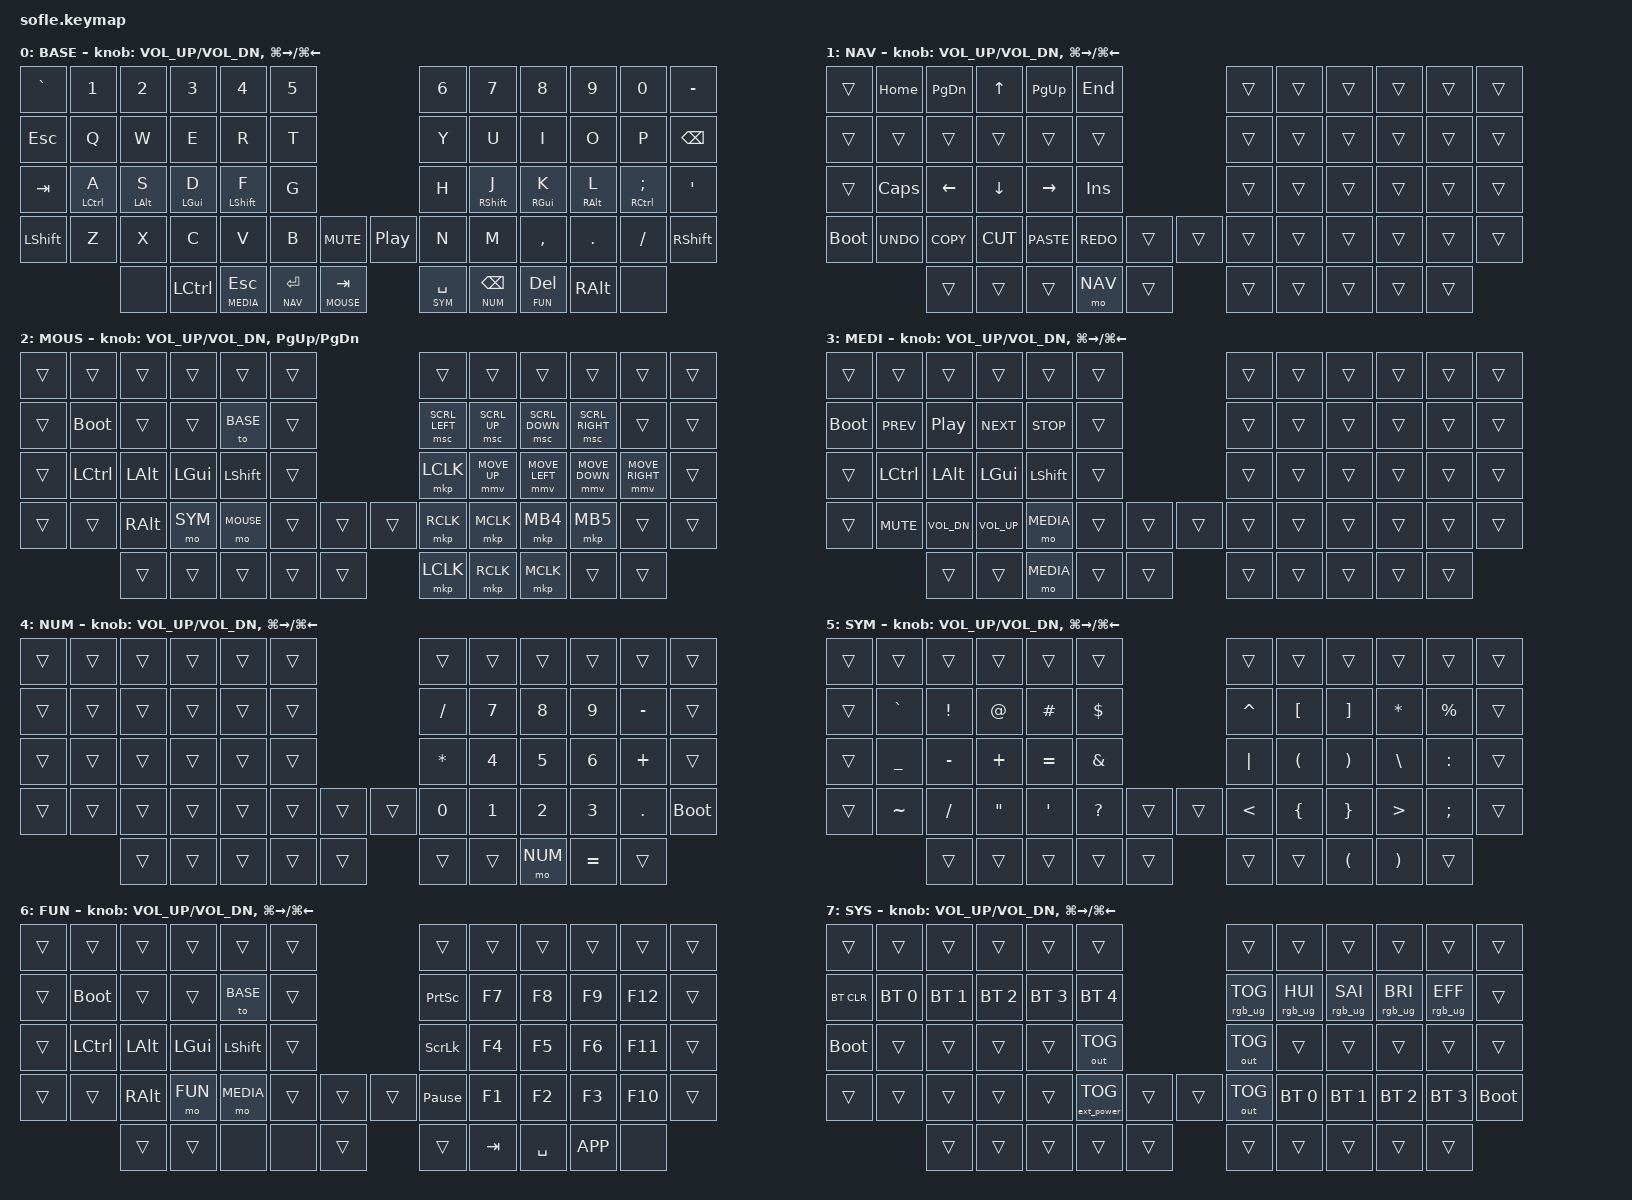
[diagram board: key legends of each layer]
/*
 * Unified Miryoku-inspired keymap for Sofle keyboard
 * Uses Miryoku layer structure with urob's num layer and timing
 * Matches Corne keymap layout
 * Copyright (c) 2020 The ZMK Contributors
 * SPDX-License-Identifier: MIT
 */

#include <zmk-helpers/helper.h>
#include <zmk-helpers/key-labels/sofle.h>
#include <behaviors/num_word.dtsi>
#include <behaviors.dtsi>
#include <dt-bindings/zmk/bt.h>
#include <dt-bindings/zmk/keys.h>
#include <dt-bindings/zmk/outputs.h>
#include <dt-bindings/zmk/ext_power.h>
#include <dt-bindings/zmk/rgb.h>
#include <dt-bindings/zmk/mouse.h>

// Layer definitions
#define BASE 0
#define NAV 1
#define MOUSE 2
#define MEDIA 3
#define NUM 4
#define SYM 5
#define FUN 6
#define SYS 7

// Key position groups for positional hold-tap
#define KEYS_L LN0 LN1 LN2 LN3 LN4 LN5 LT0 LT1 LT2 LT3 LT4 LT5 LM0 LM1 LM2 LM3 LM4 LM5 LB0 LB1 LB2 LB3 LB4 LB5  // Left hand
#define KEYS_R RN0 RN1 RN2 RN3 RN4 RN5 RT0 RT1 RT2 RT3 RT4 RT5 RM0 RM1 RM2 RM3 RM4 RM5 RB0 RB1 RB2 RB3 RB4 RB5  // Right hand
#define THUMBS LH0 LH1 LH2 LH3 LH4 RH0 RH1 RH2 RH3 RH4  // Thumb keys

/ {
    behaviors {
        // Home row mods - left hand (urob's timing)
        hml: homerow_mods_left {
            compatible = "zmk,behavior-hold-tap";
            #binding-cells = <2>;
            flavor = "balanced";
            tapping-term-ms = <280>;
            quick-tap-ms = <175>;
            require-prior-idle-ms = <150>;
            bindings = <&kp>, <&kp>;
            hold-trigger-key-positions = <KEYS_R THUMBS>;
            hold-trigger-on-release;
        };

        // Home row mods - right hand (urob's timing)
        hmr: homerow_mods_right {
            compatible = "zmk,behavior-hold-tap";
            #binding-cells = <2>;
            flavor = "balanced";
            tapping-term-ms = <280>;
            quick-tap-ms = <175>;
            require-prior-idle-ms = <150>;
            bindings = <&kp>, <&kp>;
            hold-trigger-key-positions = <KEYS_L THUMBS>;
            hold-trigger-on-release;
        };

        // Tap-dance for numword: tap=numword, double-tap=sticky layer
        num_dance: num_dance {
            compatible = "zmk,behavior-tap-dance";
            #binding-cells = <0>;
            tapping-term-ms = <200>;
            bindings = <&num_word NUM>, <&sl NUM>;
        };

        // Smart-num: hold=momentary NUM, tap=numword
        smart_num: smart_num {
            compatible = "zmk,behavior-hold-tap";
            #binding-cells = <2>;
            flavor = "balanced";
            tapping-term-ms = <200>;
            quick-tap-ms = <175>;
            bindings = <&mo>, <&num_dance>;
        };
    };

    conditional_layers {
        compatible = "zmk,conditional-layers";

        sys_layer_access {
            if-layers = <NAV MEDIA>;
            then-layer = <SYS>;
        };
    };

    keymap {
        compatible = "zmk,keymap";

        // BASE LAYER - QWERTY with urob's home row mods (CAGS order)
        base_layer {
            display-name = "BASE";
            // ------------------------------------------------------------------------------------------------------------
            // |  `   |  1  |  2  |  3   |  4   |  5   |                   |  6   |  7    |  8    |  9   |   0   |   -   |
            // | ESC  |  Q  |  W  |  E   |  R   |  T   |                   |  Y   |  U    |  I    |  O   |   P   | BKSPC |
            // | TAB  | CTRL| ALT | GUI  | SHFT |  G   |                   |  H   | SHFT  | GUI   | ALT  | CTRL  |   '   |
            // |      |  A  |  S  |  D   |  F   |      |                   |      |  J    |  K    |  L   |   ;   |       |
            // | SHFT |  Z  |  X  |  C   |  V   |  B   |  MUTE  |  |  PP   |  N   |  M    |  ,    |  .   |   /   | SHFT  |
            //                    | CTRL |MEDI  | NAV  | MOUS   |  | SYM   | NUM  |  FUN  | RALT |
            //                    |      | ESC  | RET  |  TAB   |  |  SPC  | BSP  |  DEL  |      |

            bindings = <
&kp GRAVE  &kp N1        &kp N2       &kp N3        &kp N4        &kp N5                                  &kp N6      &kp N7           &kp N8        &kp N9       &kp N0           &kp MINUS
&kp ESC    &kp Q         &kp W        &kp E         &kp R         &kp T                                   &kp Y       &kp U            &kp I         &kp O        &kp P            &kp BSPC
&kp TAB    &hml LCTRL A  &hml LALT S  &hml LGUI D   &hml LSHFT F  &kp G                                   &kp H       &hmr RSHFT J     &hmr RGUI K   &hmr RALT L  &hmr RCTRL SEMI  &kp SQT
&kp LSHFT  &kp Z         &kp X        &kp C         &kp V         &kp B       &kp C_MUTE    &kp C_PP      &kp N       &kp M            &kp COMMA     &kp DOT      &kp FSLH         &kp RSHFT
                         &none        &kp LCTRL    &lt MEDIA ESC &lt NAV RET &lt MOUSE TAB             &lt SYM SPACE   &lt NUM BSPC &lt FUN DEL     &kp RALT      &none
            >;

            sensor-bindings =
                <&inc_dec_kp C_VOL_UP C_VOL_DN>,
                <&inc_dec_kp LG(RIGHT) LG(LEFT)>;
        };

        // NAV LAYER - Navigation (one-handed left side, ESDF arrows)
        nav_layer {
            display-name = "NAV";
            // ------------------------------------------------------------------------------------------------------------
            // |      |     |     |      |      |      |                   |      |      |      |      |       |       |
            // |      |     |     | UP   |      |      |                   |      |      |      |      |       |       |
            // |      |     | LEFT| DOWN |RIGHT |      |                   |      |      |      |      |       |       |
            //       |     | (E) | (S)  | (D)  | (F)  |
            // |BOOT  |UNDO |COPY | CUT  |PASTE |REDO  |       |  |        |      |      |      |      |       |       |
            //                    |      |      | NAV  |PG_UP  |  |        |      |      |      |
            //                                         |PG_DN  |

            bindings = <
&trans       &kp HOME   &kp PG_DN  &kp UP     &kp PG_UP  &kp END                      &trans  &trans  &trans  &trans  &trans  &trans
&trans       &trans     &trans     &trans     &trans     &trans                       &trans  &trans  &trans  &trans  &trans  &trans
&trans       &kp CAPS   &kp LEFT   &kp DOWN   &kp RIGHT  &kp INS                      &trans  &trans  &trans  &trans  &trans  &trans
&bootloader  &kp K_UNDO &kp K_COPY &kp K_CUT  &kp K_PASTE &kp K_REDO  &trans  &trans  &trans  &trans  &trans  &trans  &trans  &trans
                        &trans     &trans     &trans     &mo NAV     &trans  &trans   &trans  &trans  &trans  &trans
            >;

            sensor-bindings =
                <&inc_dec_kp C_VOL_UP C_VOL_DN>,
                <&inc_dec_kp LG(RIGHT) LG(LEFT)>;
        };

        // MOUSE LAYER - Mouse keys (ESDF for movement)
        mouse_layer {
            display-name = "MOUS";
            // ------------------------------------------------------------------------------------------------------------
            // |      |     |     |      |      |      |                   |      |      |      |      |       |       |
            // |      |BOOT |     |      | BASE |      |                   |SCRL_L|SCRL_U|SCRL_D|SCRL_R|       |       |
            // |      | CTRL| ALT | GUI  | SHFT |      |                   | LCLK | M_UP | M_L  | M_D  |  M_R  |       |
            // |      |     |RALT |  SYM | MOUS |      |       |  |        | RCLK | MCLK | MB4  | MB5  |       |       |
            //                    |      |      |      |       |  |        | LCLK | RCLK | MCLK |

            bindings = <
&trans  &trans        &trans     &trans     &trans     &trans                                 &trans           &trans           &trans           &trans            &trans    &trans
&trans  &bootloader   &trans     &trans     &to BASE   &trans                                 &msc SCRL_LEFT   &msc SCRL_UP     &msc SCRL_DOWN   &msc SCRL_RIGHT   &trans    &trans
&trans  &kp LCTRL     &kp LALT   &kp LGUI   &kp LSHFT  &trans                                 &mkp LCLK        &mmv MOVE_UP     &mmv MOVE_LEFT   &mmv MOVE_DOWN    &mmv MOVE_RIGHT &trans
&trans  &trans        &kp RALT   &mo SYM    &mo MOUSE  &trans  &trans              &trans     &mkp RCLK        &mkp MCLK        &mkp MB4         &mkp MB5          &trans    &trans
                      &trans     &trans     &trans     &trans  &trans              &mkp LCLK  &mkp RCLK        &mkp MCLK        &trans           &trans
            >;

            sensor-bindings =
                <&inc_dec_kp C_VOL_UP C_VOL_DN>,
                <&inc_dec_kp PG_UP PG_DN>;
        };

        // MEDIA LAYER - Media controls (one-handed left side)
        media_layer {
            display-name = "MEDI";
            // ------------------------------------------------------------------------------------------------------------
            // |      |     |     |      |      |      |                   |      |      |      |      |       |       |
            // |BOOT  | PREV| PLAY| NEXT | STOP |      |                   |      |      |      |      |       |       |
            // |      | CTRL| ALT | GUI  | SHFT |      |                   |      |      |      |      |       |       |
            // |      | MUTE|VOL- | VOL+ |MEDIA |      |       |  |        |      |      |      |      |       |       |
            //                    |      | MEDI|      |       |  |        |      |      |      |

            bindings = <
&trans       &trans       &trans       &trans       &trans       &trans                       &trans  &trans  &trans  &trans  &trans  &trans
&bootloader  &kp C_PREV   &kp C_PP     &kp C_NEXT   &kp C_STOP   &trans                       &trans  &trans  &trans  &trans  &trans  &trans
&trans       &kp LCTRL    &kp LALT     &kp LGUI     &kp LSHFT    &trans                       &trans  &trans  &trans  &trans  &trans  &trans
&trans       &kp C_MUTE   &kp C_VOL_DN &kp C_VOL_UP &mo MEDIA    &trans  &trans      &trans   &trans  &trans  &trans  &trans  &trans  &trans
                          &trans       &trans       &mo MEDIA    &trans  &trans      &trans   &trans  &trans  &trans  &trans
            >;

            sensor-bindings =
                <&inc_dec_kp C_VOL_UP C_VOL_DN>,
                <&inc_dec_kp LG(RIGHT) LG(LEFT)>;
        };

        // NUM LAYER - Number pad (one-handed right side, activated by right thumb)
        num_layer {
            display-name = "NUM";
            // ------------------------------------------------------------------------------------------------------------
            // |      |     |     |      |      |      |                   |      |      |      |      |       |       |
            // |      |     |     |      |      |      |                   |  /   |  7   |  8   |  9   |   -   |       |
            // |      |     |     |      |      |      |                   |  *   |  4   |  5   |  6   |   +   |       |
            // |      |     |     |      |      |      |       |  |        |  0   |  1   |  2   |  3   |   .   | BOOT  |
            //                    |      |      |      |       |  |        |      | NUM  |  =   |

            bindings = <
&trans  &trans  &trans  &trans  &trans  &trans                       &trans    &trans  &trans  &trans  &trans     &trans
&trans  &trans  &trans  &trans  &trans  &trans                       &kp FSLH  &kp N7  &kp N8  &kp N9  &kp MINUS  &trans
&trans  &trans  &trans  &trans  &trans  &trans                       &kp STAR  &kp N4  &kp N5  &kp N6  &kp PLUS   &trans
&trans  &trans  &trans  &trans  &trans  &trans  &trans      &trans   &kp N0    &kp N1  &kp N2  &kp N3  &kp DOT    &bootloader
                &trans  &trans  &trans  &trans  &trans      &trans   &trans    &mo NUM &kp EQUAL &trans
            >;

            sensor-bindings =
                <&inc_dec_kp C_VOL_UP C_VOL_DN>,
                <&inc_dec_kp LG(RIGHT) LG(LEFT)>;
        };

        // SYM LAYER - Symbols (Hybrid Miryoku + Frequency optimized for Python/JS)
        sym_layer {
            display-name = "SYM";
            // ------------------------------------------------------------------------------------------------------------
            // |      |     |     |      |      |      |                   |      |      |      |      |       |       |
            // |      |  `  |  !  |  @   |  #   |  $   |                   |  ^   |  [   |  ]   |  *   |   %   |       |
            // |      |  _  |  -  |  +   |  =   |  &   |                   |  |   |  (   |  )   |  \   |   :   |       |
            // |      |  ~  |  /  |  "   |  '   |  ?   |       |  |        |  <   |  {   |  }   |  >   |   ;   |       |
            //                    |      |      |      |       |  |        |      |  (   |  )   |

            bindings = <
&trans  &trans        &trans     &trans     &trans     &trans                       &trans     &trans    &trans    &trans    &trans     &trans
&trans  &kp GRAVE     &kp EXCL   &kp AT     &kp HASH   &kp DLLR                     &kp CARET  &kp LBKT  &kp RBKT  &kp ASTRK &kp PRCNT  &trans
&trans  &kp UNDER     &kp MINUS  &kp PLUS   &kp EQUAL  &kp AMPS                     &kp PIPE   &kp LPAR  &kp RPAR  &kp BSLH  &kp COLON  &trans
&trans  &kp TILDE     &kp FSLH   &kp DQT    &kp SQT    &kp QMARK  &trans    &trans  &kp LT     &kp LBRC  &kp RBRC  &kp GT    &kp SEMI   &trans
                      &trans     &trans     &trans     &trans     &trans    &trans  &trans     &kp LPAR  &kp RPAR  &trans
            >;

            sensor-bindings =
                <&inc_dec_kp C_VOL_UP C_VOL_DN>,
                <&inc_dec_kp LG(RIGHT) LG(LEFT)>;
        };

        // FUN LAYER - Function keys (right hand function keys)
        fun_layer {
            display-name = "FUN";
            // ------------------------------------------------------------------------------------------------------------
            // |      |     |     |      |      |      |                   |      |      |      |      |       |       |
            // |      |BOOT |     |      | BASE |      |                   | PSCR |  F7  |  F8  |  F9  |  F12  |       |
            // |      | CTRL| ALT | GUI  | SHFT |      |                   | SLCK |  F4  |  F5  |  F6  |  F11  |       |
            // |      |     |RALT |  FUN | MEDI |      |       |  |        | PAUS |  F1  |  F2  |  F3  |  F10  |       |
            //                    |      |      |      |       |  |        |  TAB | SPC  | APP  |

            bindings = <
&trans  &trans        &trans     &trans     &trans     &trans                       &trans           &trans     &trans     &trans     &trans   &trans
&trans  &bootloader   &trans     &trans     &to BASE   &trans                       &kp PSCRN        &kp F7     &kp F8     &kp F9     &kp F12  &trans
&trans  &kp LCTRL     &kp LALT   &kp LGUI   &kp LSHFT  &trans                       &kp SLCK         &kp F4     &kp F5     &kp F6     &kp F11  &trans
&trans  &trans        &kp RALT   &mo FUN    &mo MEDIA  &trans  &trans      &trans   &kp PAUSE_BREAK  &kp F1     &kp F2     &kp F3     &kp F10  &trans
                      &trans     &trans     &none      &none      &trans    &trans   &kp TAB          &kp SPACE  &kp K_APP  &none
            >;

            sensor-bindings =
                <&inc_dec_kp C_VOL_UP C_VOL_DN>,
                <&inc_dec_kp LG(RIGHT) LG(LEFT)>;
        };

        // SYS LAYER - System (conditional: NAV + MEDIA)
        sys_layer {
            display-name = "SYS";
            // ------------------------------------------------------------------------------------------------------------
            // |      |     |     |      |      |      |                   |      |      |      |      |       |       |
            // |BTCLR | BT0 | BT1 |  BT2 | BT3  | BT4  |                   | RGB  | RGB  | RGB  | RGB  |  RGB  |       |
            // |BOOT  |     |     |      |      | OUT  |                   | TOG  | HUI  | SAI  | BRI  |  EFF  |       |
            // |      |     |     |      |      |EP_TOG|       |  |        | OUT  | BT0  | BT1  | BT2  |  BT3  | BOOT  |
            //                    |      |BOTH  | BOTH |       |  |        |      |      |      |

            bindings = <
&trans       &trans        &trans        &trans        &trans        &trans                          &trans            &trans          &trans          &trans          &trans          &trans
&bt BT_CLR   &bt BT_SEL 0  &bt BT_SEL 1  &bt BT_SEL 2  &bt BT_SEL 3  &bt BT_SEL 4                    &rgb_ug RGB_TOG   &rgb_ug RGB_HUI &rgb_ug RGB_SAI &rgb_ug RGB_BRI &rgb_ug RGB_EFF &trans
&bootloader  &trans        &trans        &trans        &trans        &out OUT_TOG                    &out OUT_TOG      &trans          &trans          &trans          &trans          &trans
&trans       &trans        &trans        &trans        &trans        &ext_power EP_TOG &trans &trans &out OUT_TOG      &bt BT_SEL 0    &bt BT_SEL 1    &bt BT_SEL 2    &bt BT_SEL 3    &bootloader
                           &trans        &trans        &trans        &trans        &trans    &trans  &trans            &trans          &trans          &trans
            >;

            sensor-bindings =
                <&inc_dec_kp C_VOL_UP C_VOL_DN>,
                <&inc_dec_kp LG(RIGHT) LG(LEFT)>;
        };

        // Reserved layers for ZMK Studio
        extra_1 {
            status = "reserved";
        };

        extra_2 {
            status = "reserved";
        };

        extra_3 {
            status = "reserved";
        };
    };
};
